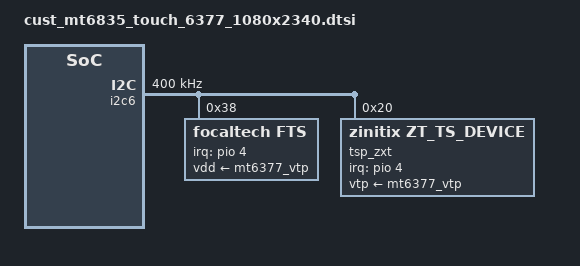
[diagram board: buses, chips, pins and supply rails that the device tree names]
// SPDX-License-Identifier: (GPL-2.0 OR MIT)
/*
 * Copyright (C) 2020 MediaTek Inc.
 */

/* TOUCH start */
&i2c6 {
	#address-cells = <1>;
	#size-cells = <0>;
	clock-frequency = <400000>;
	status = "okay";

	focaltech@38 {
		compatible = "focaltech,fts";
		reg = <0x38>;
		status = "okay";
		interrupt-parent = <&pio>;
		interrupts = <4 0x2002>;
		vdd-supply = <&mt6377_vtp>;
		focaltech,irq-gpio = <&pio 4 0x0>;
		focaltech,display-coords = <0 0 1079 2339>;
		focaltech,max-touch-number = <10>;

	};

};
&i2c6 {
	#address-cells = <1>;
	#size-cells = <0>;
	clock-frequency = <400000>;
	status = "okay";

	tsp_zxt: touchscreen@20 {
		status = "okay";
		compatible = "zinitix,zt_ts_device";
		reg = <0x20>;
		zinitix,regulator_dvdd = "vtp";
		vtp-supply = <&mt6377_vtp>;
		zinitix,irq_gpio = <&pio 4 0x0>;
		zinitix,max_coords = <1080 2340>;
		zinitix,x_resolution = <1080>;
		zinitix,y_resolution = <2340>;
//		zinitix,area-size = <>;
		zinitix,page_size = <128>;

		//feature
		zinitix,mis_cal_check;
		enable_settings_aot;
		support_ear_detect_mode;
		support_dex_mode;
		support_open_short_test;

		zinitix,enable_sysinput_enabled;
		not_support_io_ldo;
	};

};

&tsp_zxt {
		zinitix,max_coords = <1080 2340>;
		zinitix,bitmask_unload = <0x00FF00 0x004200>;

		//calibration
		zinitix,tclm_level = <2>;
		zinitix,afe_base = <0x0006>;

		//This part is for firmware
		zinitix,chip_name = "ZT7650M";
		zinitix,firmware_name = "zt7650m_a16.bin";
		zinitix,bringup = <0>;
};

/* TOUCH end */

